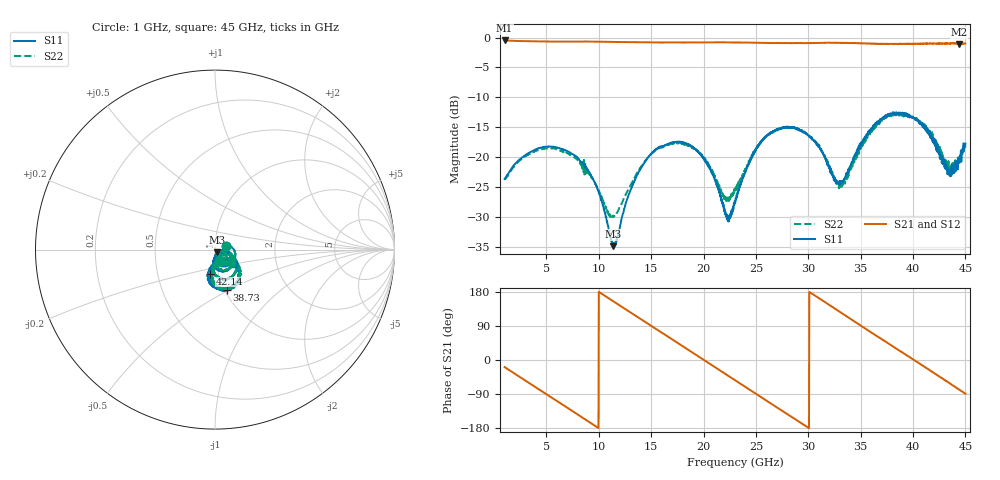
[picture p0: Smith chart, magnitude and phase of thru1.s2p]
!Keysight Technologies,N5247B,MY61255062,A.19.80.06
!Date: Thursday, May 21, 2026 11:51:13
!Correction: S11(Cdelta 2-Port  )
!S21(Cdelta 2-Port  )
!S12(Cdelta 2-Port  )
!S22(Cdelta 2-Port  )
!S2P File: Measurements: S11, S21, S12, S22:
# Hz S  dB  R 50
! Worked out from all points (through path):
!   1601 points, 1 GHz to 45 GHz, reference 50 ohm
!   highest |S21| = -0.48 dB at 1 GHz (marker M1); lowest = -1.1 dB at 44.4 GHz (marker M2)
!   group delay of S21, straight-line fit = 49.8 ps
!   lowest |S11| = -34.9 dB at 11.37 GHz (marker M3), VSWR 1.04, Z = 51 - j1.5 ohm
!   |S11| at or under -10 dB: start of sweep to end of sweep
!   |S22| runs from -30.0 to -12.5 dB; largest |S21 - S12| = 0.017
!   S11 on the Smith chart (normalised r, x): 1 GHz: 1.13, +0.04; 38.73 GHz: 1.03, -0.48; 42.14 GHz: 0.92, -0.25; 45 GHz: 1.21, -0.19
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1e9  -23.64 16.1  -0.48 -18.7  -0.48 -18.8  -23.74 16.6
4.74e9  -18.29 -23.1  -0.65 -85.8  -0.65 -85.8  -18.58 -18.9
6.5e9  -18.65 -48.6  -0.67 -117.2  -0.67 -117.2  -18.96 -42.4
8.3425e9  -20.86 -74.1  -0.67 -150.4  -0.67 -150.4  -21.44 -64.5
1.13675e10  -34.87 -54.5  -0.72 155.1  -0.73 155.1  -29.91 -38.3
1.365e10  -22.93 -6.3  -0.77 114.3  -0.77 114.3  -22.70 -10.2
1.5685e10  -18.43 -31.9  -0.81 77.8  -0.82 77.8  -18.55 -30.4
1.95075e10  -19.17 -84.0  -0.81 9.7  -0.81 9.6  -19.18 -76.2
2.22575e10  -29.71 -63.4  -0.80 -40.0  -0.80 -40.0  -27.29 -55.7
2.3e10  -27.40 -26.3  -0.83 -53.4  -0.83 -53.4  -25.24 -34.2
2.63275e10  -15.90 -40.0  -0.91 -113.1  -0.92 -113.1  -16.04 -39.8
2.85e10  -14.95 -67.9  -0.92 -151.8  -0.93 -151.9  -15.01 -66.6
3.03425e10  -17.08 -89.3  -0.90 175.3  -0.92 175.3  -16.67 -87.8
3.2845e10  -24.31 -74.1  -0.87 130.0  -0.88 129.9  -24.60 -72.6
3.42475e10  -20.65 -32.4  -0.94 104.5  -0.94 104.5  -21.01 -33.3
3.7685e10  -13.07 -58.7  -1.05 43.0  -1.04 43.0  -13.04 -53.8
3.873e10  -12.68 -73.6  -1.03 24.5  -1.06 24.5  -13.03 -68.7
4.0435e10  -13.93 -93.8  -1.06 -5.8  -1.02 -6.3  -13.68 -87.3
4.214e10  -17.30 -101.3  -1.01 -36.8  -0.99 -37.0  -17.78 -98.3
4.34875e10  -22.43 -77.7  -0.97 -61.1  -0.96 -61.4  -21.54 -80.3
4.4395e10  -20.15 -46.5  -1.12 -77.9  -0.99 -78.3  -20.00 -47.0
4.5e10  -17.73 -37.4  -0.99 -89.0  -1.01 -89.1  -18.23 -39.0
